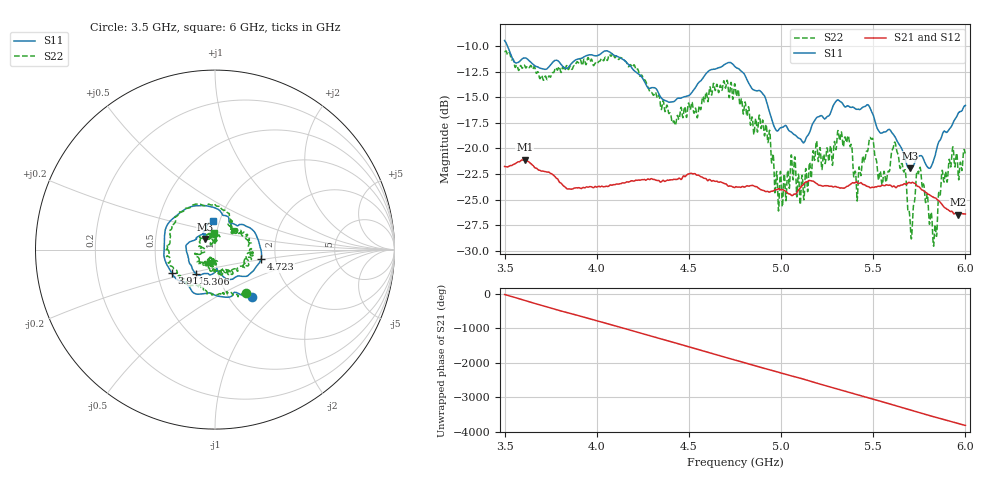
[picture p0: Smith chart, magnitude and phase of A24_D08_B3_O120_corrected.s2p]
! Created with skrf 1.9.0 (http://scikit-rf.org).
# Hz S RI R 50.0
!freq ReS11 ImS11 ReS21 ImS21 ReS12 ImS12 ReS22 ImS22
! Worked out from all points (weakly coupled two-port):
!   1601 points, 3.5 GHz to 6 GHz, reference 50 ohm
!   highest |S21| = -21.11 dB at 3.609 GHz (marker M1); lowest = -26.5 dB at 5.959 GHz (marker M2)
!   lowest |S11| = -22.0 dB at 5.7 GHz (marker M3), VSWR 1.17, Z = 44.6 + j5.32 ohm
!   |S11| at or under -10 dB: 3.515 GHz to end of sweep
!   |S22| runs from -29.5 to -10.5 dB; largest |S21 - S12| = 0.0011
!   S11 on the Smith chart (normalised r, x): 3.5 GHz: 1.27, -0.76; 3.911 GHz: 0.59, -0.17; 4.723 GHz: 1.68, -0.18; 5.306 GHz: 0.78, -0.22; 6 GHz: 0.93, +0.31
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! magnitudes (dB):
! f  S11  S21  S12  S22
! 3.5 GHz  -9.5  -21.8  -21.7  -10.5
! 3.609 GHz  -11.2  -21.1  -21.1  -11.9
! 3.911 GHz  -11.2  -23.9  -23.9  -11.3
! 3.917 GHz  -11.2  -23.9  -23.9  -11.7
! 4.334 GHz  -14.6  -23.1  -23.1  -14.9
! 4.419 GHz  -15.4  -23.0  -23.0  -17.3
! 4.723 GHz  -11.6  -23.7  -23.6  -14.2
! 4.75 GHz  -12.0  -23.8  -23.7  -13.8
! 4.928 GHz  -15.9  -24.2  -24.2  -19.4
! 4.978 GHz  -18.3  -24.0  -24.0  -22.5
! 5.167 GHz  -17.8  -23.2  -23.2  -22.0
! 5.306 GHz  -15.3  -23.8  -23.7  -18.4
! 5.406 GHz  -16.2  -23.3  -23.2  -22.8
! 5.487 GHz  -16.3  -23.8  -23.8  -19.1
! 5.584 GHz  -18.1  -23.6  -23.6  -22.3
! 5.625 GHz  -19.1  -23.8  -23.8  -20.0
! 5.7 GHz  -22.0  -23.4  -23.3  -27.1
! 5.747 GHz  -20.8  -23.7  -23.7  -22.3
! 5.834 GHz  -20.8  -24.8  -24.8  -27.6
! 5.88 GHz  -18.4  -25.6  -25.6  -22.8
! 5.959 GHz  -16.6  -26.5  -26.4  -22.1
! 6 GHz  -15.8  -26.4  -26.4  -20.5
